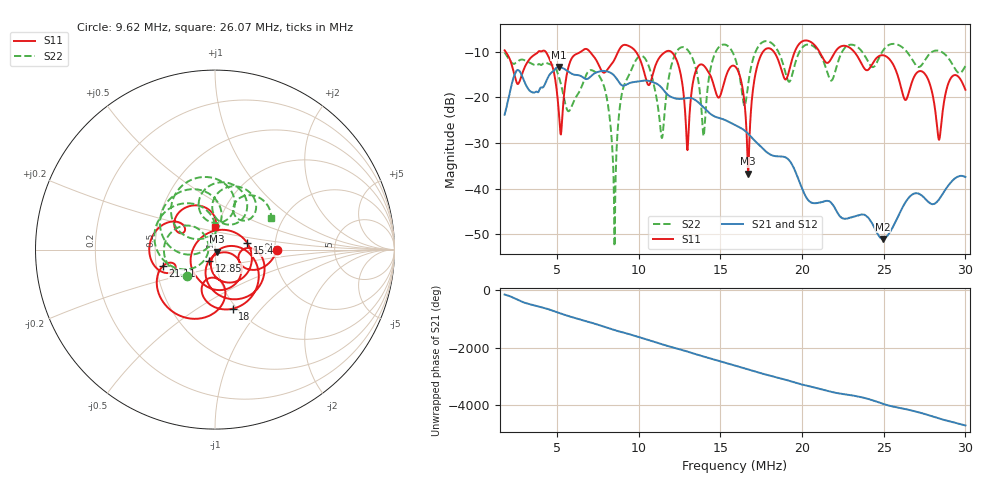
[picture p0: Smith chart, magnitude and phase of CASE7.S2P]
!Agilent Technologies,E5061B,MY49101568,A.02.00
!Date: Wed Mar 01 13:52:47 2023
!Data & Calibration Information:
!Freq	S11:SOLT2(OFF)	S21:SOLT2(OFF)	S12:SOLT2(OFF)	S22:SOLT2(OFF)
# Hz S dB R 50
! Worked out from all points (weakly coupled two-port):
!   1155 points, 1.8 MHz to 30 MHz, reference 50 ohm
!   highest |S21| = -13.35 dB at 5.123 MHz (marker M1); lowest = -51.0 dB at 24.94 MHz (marker M2)
!   lowest |S11| = -36.7 dB at 16.71 MHz (marker M3), VSWR 1.03, Z = 51 - j1.08 ohm
!   |S11| at or under -10 dB: 4.304 MHz to 6.478 MHz (2.174 MHz wide, 40.3 % of centre); 11.98 MHz to 17.62 MHz (5.644 MHz wide, 38.1 % of centre); 23.19 MHz to end of sweep (the widest 3 of 8)
!   |S22| runs from -52.6 to -7.7 dB; largest |S21 - S12| = 0.0029
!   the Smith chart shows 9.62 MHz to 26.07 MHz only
!   S11 on the Smith chart (normalised r, x): 9.62 MHz: 2.06, -0.01; 12.85 MHz: 0.93, -0.12; 15.41 MHz: 1.43, +0.11; 18 MHz: 0.96, -0.71; 21.11 MHz: 0.54, -0.11; 26.07 MHz: 0.97, +0.25
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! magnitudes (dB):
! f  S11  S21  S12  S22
! 1.8 MHz  -9.7  -23.8  -23.8  -10.2
! 4.317 MHz  -10.1  -16.7  -16.7  -12.5
! 5.123 MHz  -23.5  -13.4  -13.3  -15.5
! 6.516 MHz  -9.9  -15.4  -15.4  -17.7
! 7.86 MHz  -14.6  -14.2  -14.2  -17.3
! 8.52 MHz  -11.8  -15.3  -15.3  -52.6
! 8.911 MHz  -9.0  -17.2  -17.1  -20.5
! 9.62 MHz  -9.2  -16.7  -16.7  -13.4
! 11.21 MHz  -11.7  -17.2  -17.3  -22.7
! 12.85 MHz  -23.1  -20.2  -20.3  -9.2
! 13.97 MHz  -13.0  -22.2  -22.2  -28.5
! 15.41 MHz  -14.8  -25.2  -25.2  -8.7
! 15.9 MHz  -13.2  -26.1  -26.1  -11.4
! 16.71 MHz  -36.7  -28.0  -28.0  -17.1
! 18 MHz  -9.3  -32.4  -32.5  -7.9
! 20.62 MHz  -8.1  -43.1  -43.0  -8.7
! 21.11 MHz  -10.3  -43.0  -43.0  -10.5
! 24.94 MHz  -10.8  -51.0  -51.0  -9.9
! 25.31 MHz  -11.5  -49.9  -49.8  -8.6
! 26.07 MHz  -17.9  -44.7  -44.7  -8.9
! 28.39 MHz  -29.3  -42.3  -42.2  -9.8
! 30 MHz  -18.3  -37.4  -37.4  -13.2
